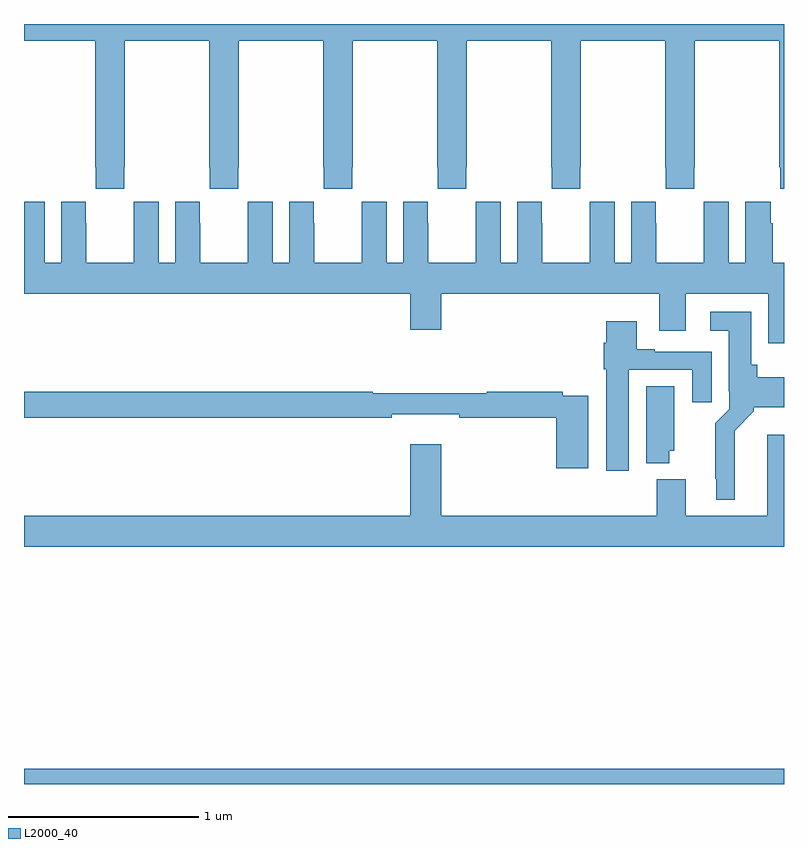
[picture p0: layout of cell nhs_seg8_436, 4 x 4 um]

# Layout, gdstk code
import gdstk
lib = gdstk.Library(unit=1e-6, precision=1e-09)
def R(c, l, rs):  # rectangles x0, y0, x1, y1
    for r in rs: c.add(gdstk.rectangle(r[:2], r[2:], *l))
def P(c, l, *ps):  # polygons
    for p in ps: c.add(gdstk.Polygon(p, *l))
L2000_40 = (2000, 40)

nhs_seg8_436 = lib.new_cell('nhs_seg8_436')
R(nhs_seg8_436, L2000_40, [(139,1133.9,143,1133.98)])
P(nhs_seg8_436, L2000_40, [(139.527,1137.145),(139.53,1137.145),(139.53,1137.812),(139.975,1137.812),(139.975,1137.145),(139.977,1137.145),(139.977,1137.033),(140.127,1137.033),(140.127,1137.145),(140.13,1137.145),(140.13,1137.812),(140.575,1137.812),(140.575,1137.145),(140.577,1137.145),(140.577,1137.033),(140.727,1137.033),(140.727,1137.145),(140.73,1137.145),(140.73,1137.812),(141.175,1137.812),(141.175,1137.145),(141.177,1137.145),(141.177,1137.033),(141.327,1137.033),(141.327,1137.145),(141.33,1137.145),(141.33,1137.812),(141.775,1137.812),(141.775,1137.145),(141.777,1137.145),(141.777,1137.033),(141.927,1137.033),(141.927,1137.145),(141.93,1137.145),(141.93,1137.812),(142.375,1137.812),(142.375,1137.145),(142.377,1137.145),(142.377,1137.033),(142.527,1137.033),(142.527,1137.145),(142.53,1137.145),(142.53,1137.812),(142.975,1137.812),(142.975,1137.145),(142.981,1137.145),(142.981,1137.033),(143,1137.033),(143,1137.9),(139,1137.9),(139,1137.812),(139.375,1137.812),(139.375,1137.145),(139.377,1137.145),(139.377,1137.033),(139.527,1137.033)],
  [(143,1136.644),(142.94,1136.644),(142.94,1136.852),(142.93,1136.852),(142.93,1136.965),(142.796,1136.965),(142.796,1136.644),(142.708,1136.644),(142.708,1136.965),(142.578,1136.965),(142.578,1136.852),(142.577,1136.852),(142.577,1136.644),(142.327,1136.644),(142.327,1136.852),(142.326,1136.852),(142.326,1136.965),(142.196,1136.965),(142.196,1136.644),(142.108,1136.644),(142.108,1136.965),(141.978,1136.965),(141.978,1136.852),(141.977,1136.852),(141.977,1136.644),(141.727,1136.644),(141.727,1136.852),(141.726,1136.852),(141.726,1136.965),(141.596,1136.965),(141.596,1136.644),(141.508,1136.644),(141.508,1136.965),(141.378,1136.965),(141.378,1136.852),(141.377,1136.852),(141.377,1136.644),(141.127,1136.644),(141.127,1136.852),(141.126,1136.852),(141.126,1136.965),(140.996,1136.965),(140.996,1136.644),(140.908,1136.644),(140.908,1136.965),(140.778,1136.965),(140.778,1136.852),(140.777,1136.852),(140.777,1136.644),(140.527,1136.644),(140.527,1136.852),(140.526,1136.852),(140.526,1136.965),(140.396,1136.965),(140.396,1136.644),(140.308,1136.644),(140.308,1136.965),(140.178,1136.965),(140.178,1136.852),(140.177,1136.852),(140.177,1136.644),(139.927,1136.644),(139.927,1136.852),(139.926,1136.852),(139.926,1136.965),(139.796,1136.965),(139.796,1136.644),(139.708,1136.644),(139.708,1136.965),(139.578,1136.965),(139.578,1136.852),(139.577,1136.852),(139.577,1136.644),(139.327,1136.644),(139.327,1136.852),(139.326,1136.852),(139.326,1136.965),(139.196,1136.965),(139.196,1136.644),(139.108,1136.644),(139.108,1136.965),(139,1136.965),(139,1136.48),(141.032,1136.48),(141.032,1136.292),(141.196,1136.292),(141.196,1136.48),(142.343,1136.48),(142.343,1136.286),(142.483,1136.286),(142.483,1136.48),(142.917,1136.48),(142.917,1136.22),(143,1136.22)],
  [(142.741,1135.76),(142.842,1135.862),(142.842,1135.883),(143,1135.883),(143,1136.041),(142.859,1136.041),(142.859,1136.106),(142.828,1136.106),(142.828,1136.386),(142.611,1136.386),(142.611,1136.285),(142.709,1136.285),(142.709,1135.966),(142.713,1135.966),(142.713,1135.872),(142.639,1135.798),(142.639,1135.507),(142.643,1135.507),(142.643,1135.397),(142.741,1135.397)],
  [(142.183,1136.079),(142.517,1136.079),(142.517,1135.908),(142.621,1135.908),(142.621,1136.175),(142.321,1136.175),(142.321,1136.188),(142.225,1136.188),(142.225,1136.335),(142.064,1136.335),(142.064,1136.222),(142.052,1136.222),(142.052,1136.082),(142.064,1136.082),(142.064,1135.548),(142.183,1135.548)],
  [(142.396,1135.653),(142.423,1135.653),(142.423,1135.994),(142.274,1135.994),(142.274,1135.589),(142.396,1135.589)],
  [(141.97,1135.944),(141.836,1135.944),(141.836,1135.964),(141.436,1135.964),(141.436,1135.957),(140.836,1135.957),(140.836,1135.964),(139,1135.964),(139,1135.828),(140.936,1135.828),(140.936,1135.847),(141.292,1135.847),(141.292,1135.828),(141.8,1135.828),(141.8,1135.563),(141.97,1135.563)],
  [(143,1135.738),(142.913,1135.738),(142.913,1135.312),(142.483,1135.312),(142.483,1135.504),(142.331,1135.504),(142.331,1135.312),(141.196,1135.312),(141.196,1135.687),(141.032,1135.687),(141.032,1135.312),(139,1135.312),(139,1135.148),(143,1135.148)])

lib.write_gds('nhs_seg8_436.gds')
